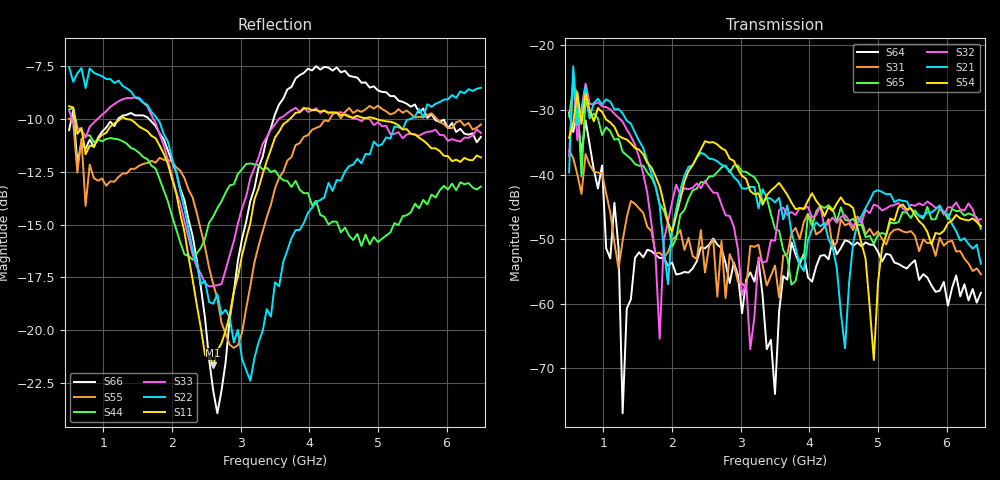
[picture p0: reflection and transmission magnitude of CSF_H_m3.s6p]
!Keysight Technologies,M9804A,MY58100912,A.14.10.03
!Date: Thursday, April 27, 2023 10:28:33
!Correction: S11(C  6-Port  )
!S12(C  6-Port  )
!S13(C  6-Port  )
!S14(C  6-Port  )
!S15(C  6-Port  )
!S16(C  6-Port  )
!S21(C  6-Port  )
!S22(C  6-Port  )
!S23(C  6-Port  )
!S24(C  6-Port  )
!S25(C  6-Port  )
!S26(C  6-Port  )
!S31(C  6-Port  )
!S32(C  6-Port  )
!S33(C  6-Port  )
!S34(C  6-Port  )
!S35(C  6-Port  )
!S36(C  6-Port  )
!S41(C  6-Port  )
!S42(C  6-Port  )
!S43(C  6-Port  )
!S44(C  6-Port  )
!S45(C  6-Port  )
!S46(C  6-Port  )
!S51(C  6-Port  )
!S52(C  6-Port  )
!S53(C  6-Port  )
!S54(C  6-Port  )
!S55(C  6-Port  )
!S56(C  6-Port  )
!S61(C  6-Port  )
!S62(C  6-Port  )
!S63(C  6-Port  )
!S64(C  6-Port  )
!S65(C  6-Port  )
!S66(C  6-Port  )
!S6P File: Measurement: :
# Hz S  RI  R 50
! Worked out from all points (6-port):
!   101 points, 500 MHz to 6.5 GHz, reference 50 ohm
!   strongest paths, dB at 500 MHz, 2 GHz, 3.5 GHz, 5 GHz, 6.5 GHz:
!     S54: -34.3, -48.9, -41.9, -56.8, -48.0
!     S21: -39.7, -48.7, -44.3, -42.4, -53.8
!     S32: -37.1, -44.3, -50.3, -44.9, -46.9
!     S65: -31.0, -51.2, -48.4, -49.3, -48.4
!     S31: -36.3, -50.2, -54.1, -48.8, -55.4
!     S64: -30.4, -53.6, -74.0, -52.0, -58.3
!   lowest |S11| = -21.6 dB at 2.6 GHz (marker M1), VSWR 1.18, Z = 42.6 + j2.06 ohm
!   |S11| at or under -10 dB: 586.4 MHz to 1.246 GHz (659.9 MHz wide, 72 % of centre); 1.336 GHz to 3.715 GHz (2.379 GHz wide, 94.2 % of centre); 4.977 GHz to end of sweep
